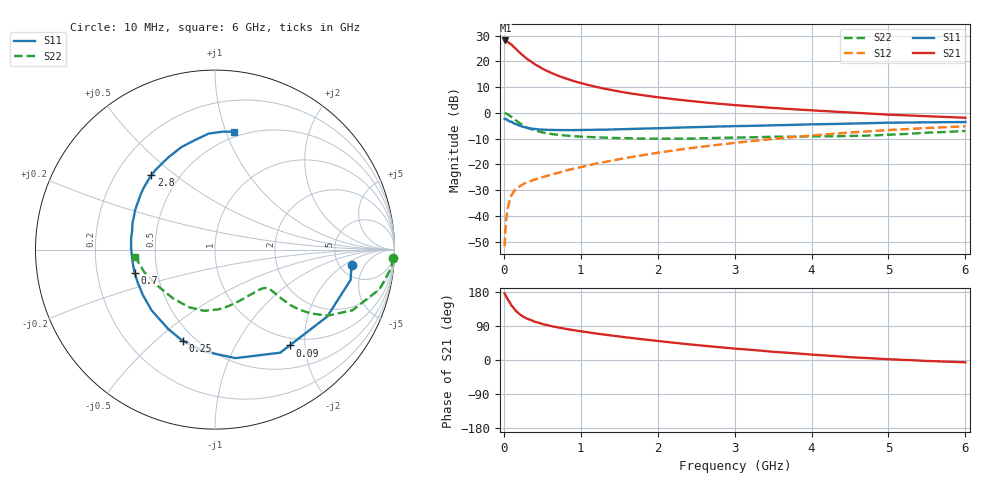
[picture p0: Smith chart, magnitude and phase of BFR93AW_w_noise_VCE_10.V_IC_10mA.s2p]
! (c) 2017  Infineon Technologies AG, Munich
! Infineon Technologies  Discrete & RF Semiconductors
! BFR93AW
! VCE =  10. V,  IC =  10 mA
! Common Emitter S-Parameters:  Jan 2017
# GHz  S  MA  R  50
!  f  S11  S21  S12  S22
! GHz  MAG  ANG  MAG  ANG  MAG  ANG  MAG  ANG
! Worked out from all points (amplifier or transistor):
!   77 points, 10 MHz to 6 GHz, reference 50 ohm
!   highest |S21| = 28.1 dB at 20 MHz (marker M1)
!   |S21| within 3 dB of that: start of sweep to 146.3 MHz
!   unconditionally stable (mu >= 1): 887 MHz to 2.101 GHz
!   at 130 MHz: K = 0.30, MSG = 28.0 dB, |S12| = -30.5 dB
!   at 2.2 GHz: K = 0.99, MSG = 10.0 dB, |S12| = -14.6 dB
!   at 6 GHz: K = 0.85, MSG = 1.7 dB, |S12| = -5.2 dB
!   lowest NFmin = 1.25 dB at 450 MHz
!   S11 on the Smith chart (normalised r, x): 10 MHz: 6.41, -2.64; 90 MHz: 0.86, -1.70; 250 MHz: 0.43, -0.61; 700 MHz: 0.37, -0.12; 2.8 GHz: 0.35, +0.41; 6 GHz: 0.45, +1.07
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0.01  0.7654 -6.4  25.46 175.5  0.0026 86.4  0.9929 -2.7
0.02  0.7741 -12.6  25.48 171.7  0.0054 85.9  0.9883 -5.8
0.05  0.7281 -30.8  24.16 160.1  0.014 75.3  0.9427 -13.6
0.09  0.6768 -52.1  21.52 147.3  0.0231 66.7  0.8557 -21.6
0.1  0.6797 -57.7  21.05 143.6  0.0254 65.5  0.8369 -23.8
0.15  0.6153 -79.3  17.83 131.0  0.0329 57.9  0.729 -30.3
0.2  0.5705 -96.2  15.08 121.7  0.037 55.1  0.6414 -33.7
0.25  0.5391 -109.6  12.94 114.5  0.0415 52.3  0.5754 -35.5
0.3  0.5137 -120.4  11.22 109.2  0.0448 52.0  0.5239 -36.3
0.4  0.4893 -136.2  8.858 101.1  0.0509 52.9  0.4587 -36.4
0.5  0.4747 -147.9  7.246 95.1  0.0566 54.3  0.4188 -36.1
0.6  0.4681 -156.8  6.139 90.2  0.0626 56.1  0.3936 -35.9
0.7  0.4658 -164.0  5.312 86.1  0.0684 58.1  0.3765 -35.9
0.9  0.4647 -175.5  4.185 78.9  0.0822 60.7  0.3548 -37.2
1.1  0.4685 175.8  3.476 72.9  0.0962 63.2  0.3421 -39.3
1.5  0.4829 162.0  2.606 62.1  0.1266 65.3  0.3248 -46.2
2.1  0.5094 145.9  1.936 48.1  0.1775 64.9  0.3159 -61.2
2.8  0.5457 130.5  1.506 33.8  0.2424 61.6  0.3286 -81.1
3.1  0.5575 124.4  1.385 28.6  0.2721 59.3  0.3346 -89.4
4.1  0.6042 106.5  1.101 13.0  0.3751 50.0  0.3511 -117.5
5.1  0.6488 91.7  0.914 1.2  0.4738 38.5  0.3831 -150.9
6  0.6658 80.7  0.806 -6.2  0.5508 27.5  0.4464 -174.8
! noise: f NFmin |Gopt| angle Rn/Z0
0.45  1.25  0.15  94  0.13
0.9  1.55  0.24  150  0.14
1.9  2.61  0.47  -148  0.18
2.4  3.24  0.54  -131  0.36
